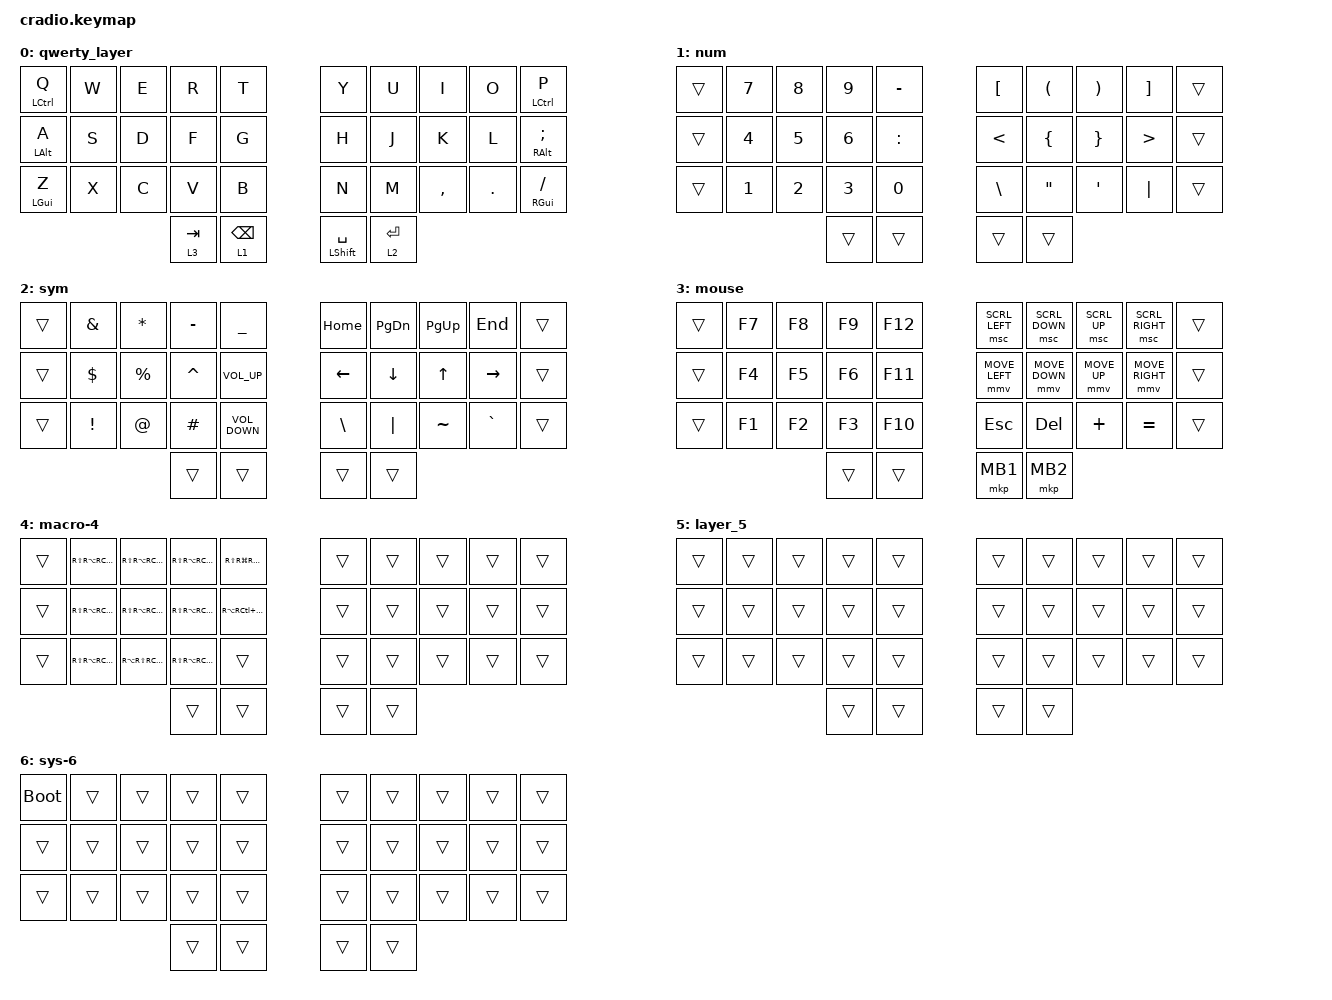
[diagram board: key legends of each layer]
/*
 * Copyright (c) 2020 The ZMK Contributors
 *
 * SPDX-License-Identifier: MIT
 */

#include <behaviors.dtsi>
#include <dt-bindings/zmk/keys.h>
#include <dt-bindings/zmk/pointing.h>

#define NAV_L 1
#define OTHER_L 2
#define NUM_L 3
#define SYM_L 4

// Using layer taps on thumbs, having quick tap as well helps w/ repeating space/backspace

&lt { quick_tap_ms = <200>; };

&mt {
    flavor = "tap-preferred";
    tapping_term_ms = <285>;
};

/ {
    behaviors {
        hm: homerow_mods {
            compatible = "zmk,behavior-hold-tap";
            #binding-cells = <2>;
            tapping_term_ms = <200>;
            flavor = "tap-preferred";
            bindings = <&kp>, <&kp>;
        };
    };

    combos {
        compatible = "zmk,combos";

        to-6 {
            bindings = <&mo 6>;
            key-positions = <16 19>;
        };

        to-5 {
            bindings = <&mo 5>;
            key-positions = <31 30>;
        };

        to-4 {
            bindings = <&mo 4>;
            key-positions = <32 33>;
        };
    };

    keymap {
        compatible = "zmk,keymap";

        qwerty_layer {
            bindings = <
&mt LCTRL Q     &kp W  &kp E  &kp R      &kp T              &kp Y                 &kp U        &kp I      &kp O       &mt LCTRL P
&mt LEFT_ALT A  &kp S  &kp D  &kp F      &kp G              &kp H                 &kp J        &kp K      &kp L       &mt RIGHT_ALT SEMICOLON
&mt LEFT_GUI Z  &kp X  &kp C  &kp V      &kp B              &kp N                 &kp M        &kp COMMA  &kp PERIOD  &mt RIGHT_GUI SLASH
                              &lt 3 TAB  &lt 1 BACKSPACE    &mt LEFT_SHIFT SPACE  &lt 2 ENTER
            >;
        };

        num {
            bindings = <
&trans  &kp N7        &kp N8        &kp N9        &kp MINUS    &kp LEFT_BRACKET      &kp LEFT_PARENTHESIS  &kp RIGHT_PARENTHESIS  &kp RIGHT_BRACKET  &trans
&trans  &kp NUMBER_4  &kp N5        &kp NUMBER_6  &kp COLON    &kp LESS_THAN         &kp LEFT_BRACE        &kp RIGHT_BRACE        &kp GREATER_THAN   &trans
&trans  &kp NUMBER_1  &kp NUMBER_2  &kp NUMBER_3  &kp N0       &kp BACKSLASH  &kp DOUBLE_QUOTES     &kp SQT                &kp PIPE           &trans
                                    &trans        &trans       &trans                &trans
            >;
        };

        sym {
            bindings = <
&trans  &kp AMPERSAND    &kp ASTERISK  &kp MINUS  &kp UNDERSCORE       &kp HOME              &kp PAGE_DOWN  &kp PAGE_UP   &kp END    &trans
&trans  &kp DOLLAR       &kp PERCENT   &kp CARET  &kp C_VOLUME_UP      &kp LEFT              &kp DOWN       &kp UP_ARROW  &kp RIGHT  &trans
&trans  &kp EXCLAMATION  &kp AT_SIGN   &kp HASH   &kp C_VOLUME_DOWN    &kp BACKSLASH  &kp PIPE       &kp TILDE     &kp GRAVE  &trans
                                       &trans     &trans               &trans                &trans
            >;
        };

        mouse {
            bindings = <
&trans  &kp F7  &kp F8  &kp F9  &kp F12    &msc SCRL_LEFT  &msc SCRL_DOWN  &msc SCRL_UP  &msc SCRL_RIGHT  &trans
&trans  &kp F4  &kp F5  &kp F6  &kp F11    &mmv MOVE_LEFT  &mmv MOVE_DOWN  &mmv MOVE_UP  &mmv MOVE_RIGHT  &trans
&trans  &kp F1  &kp F2  &kp F3  &kp F10    &kp ESC         &kp DEL         &kp PLUS      &kp EQUAL        &trans
                        &trans  &trans     &mkp MB1        &mkp MB2
            >;
        };

        macro-4 {
            bindings = <
&trans  &kp RS(RA(RC(RG(N7))))        &kp RS(RA(RC(RG(N8))))        &kp RS(RA(RC(RG(N9))))        &kp RS(RG(RA(RC(J))))         &trans  &trans  &trans  &trans  &trans
&trans  &kp RS(RA(RC(RG(NUMBER_4))))  &kp RS(RA(RC(RG(N5))))        &kp RS(RA(RC(RG(NUMBER_6))))  &kp RA(RC(RG(LEFT_SHIFT)))    &trans  &trans  &trans  &trans  &trans
&trans  &kp RS(RA(RC(RG(NUMBER_1))))  &kp RA(RS(RC(RG(NUMBER_2))))  &kp RS(RA(RC(RG(NUMBER_3))))  &trans                        &trans  &trans  &trans  &trans  &trans
                                                                    &trans                        &trans                        &trans  &trans
            >;
        };

        layer_5 {
            bindings = <
&trans  &trans  &trans  &trans  &trans    &trans  &trans  &trans  &trans  &trans
&trans  &trans  &trans  &trans  &trans    &trans  &trans  &trans  &trans  &trans
&trans  &trans  &trans  &trans  &trans    &trans  &trans  &trans  &trans  &trans
                        &trans  &trans    &trans  &trans
            >;
        };

        sys-6 {
            bindings = <
&bootloader  &trans  &trans  &trans  &trans    &trans  &trans  &trans  &trans  &trans
&trans       &trans  &trans  &trans  &trans    &trans  &trans  &trans  &trans  &trans
&trans       &trans  &trans  &trans  &trans    &trans  &trans  &trans  &trans  &trans
                             &trans  &trans    &trans  &trans
            >;
        };
    };
};
